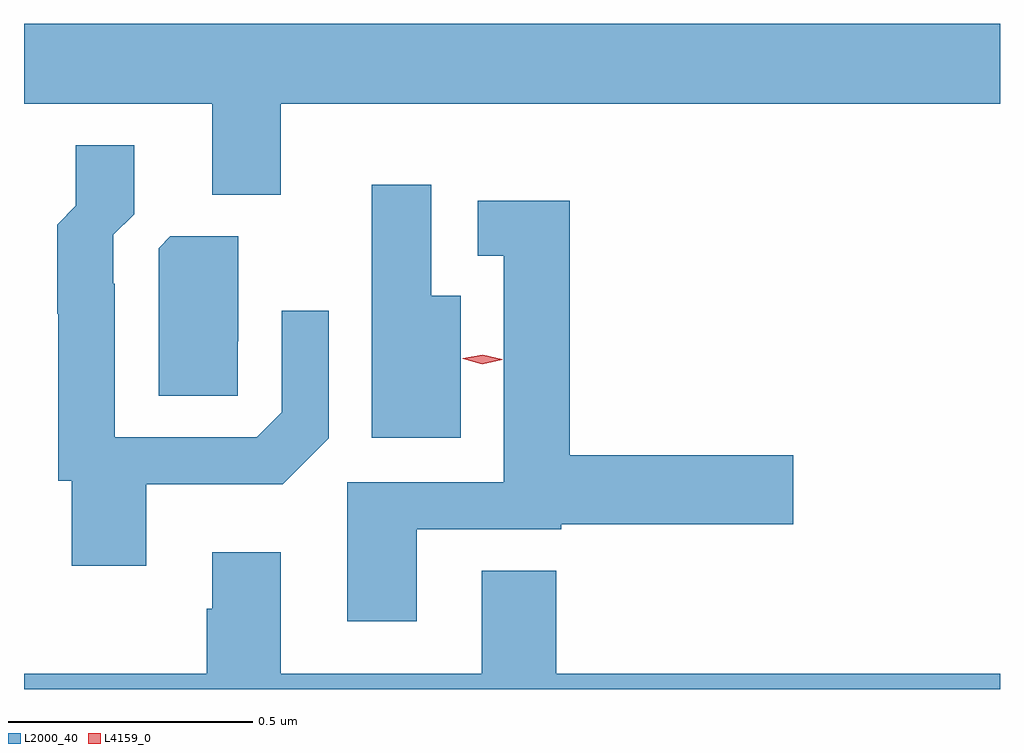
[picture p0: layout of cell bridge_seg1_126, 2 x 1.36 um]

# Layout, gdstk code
import gdstk
lib = gdstk.Library(unit=1e-6, precision=1e-09)
def P(c, l, *ps):  # polygons
    for p in ps: c.add(gdstk.Polygon(p, *l))
L2000_40 = (2000, 40)
L4159_0 = (4159, 0)

bridge_seg1_126 = lib.new_cell('bridge_seg1_126')
P(bridge_seg1_126, L2000_40, [(288.781,574.376),(290.255,574.376),(290.255,574.54),(288.255,574.54),(288.255,574.376),(288.641,574.376),(288.641,574.189),(288.781,574.189)],
  [(288.505,573.596),(288.785,573.596),(288.879,573.69),(288.879,573.952),(288.783,573.952),(288.783,573.744),(288.732,573.693),(288.441,573.693),(288.441,574.007),(288.438,574.007),(288.438,574.107),(288.481,574.15),(288.481,574.291),(288.361,574.291),(288.361,574.167),(288.323,574.128),(288.323,573.946),(288.325,573.946),(288.325,573.603),(288.353,573.603),(288.353,573.429),(288.505,573.429)],
  [(289.15,573.982),(289.09,573.982),(289.09,574.21),(288.968,574.21),(288.968,573.692),(289.15,573.692)],
  [(289.06,573.504),(289.356,573.504),(289.356,573.514),(289.831,573.514),(289.831,573.656),(289.373,573.656),(289.373,574.177),(289.185,574.177),(289.185,574.064),(289.238,574.064),(289.238,573.6),(288.917,573.6),(288.917,573.315),(289.06,573.315)],
  [(288.693,573.889),(288.694,573.889),(288.694,574.104),(288.555,574.104),(288.531,574.08),(288.531,573.778),(288.693,573.778)],
  [(290.255,573.208),(289.346,573.208),(289.346,573.419),(289.193,573.419),(289.193,573.208),(288.781,573.208),(288.781,573.457),(288.641,573.457),(288.641,573.341),(288.629,573.341),(288.629,573.208),(288.255,573.208),(288.255,573.176),(290.255,573.176)])
P(bridge_seg1_126, L4159_0, [(289.194,573.842),(289.154,573.853),(289.154,573.853),(289.154,573.854),(289.195,573.862),(289.235,573.852),(289.235,573.851),(289.235,573.851)])

lib.write_gds('bridge_seg1_126.gds')
